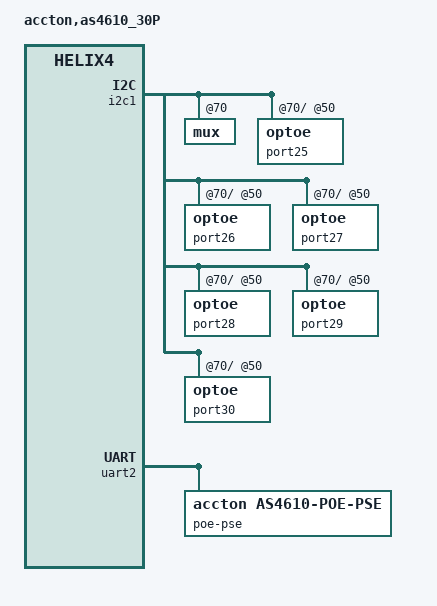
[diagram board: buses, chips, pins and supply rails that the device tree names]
/*
 * Accton AS4610 54 Device Tree Source
 *
 * Copyright 2015, Cumulus Networks, Inc.
 *
 * This program is free software; you can redistribute  it and/or modify it
 * under  the terms of  the GNU General  Public License as published by the
 * Free Software Foundation;  either version 2 of the  License, or (at your
 * option) any later version.
 *
 */
/dts-v1/;
#include "arm-accton-as4610.dtsi"

/ {
    model = "accton,as4610_30P";
    compatible = "accton,as4610_30P","brcm,helix4";
};

&i2c1 {
        mux@70 {
        // SFP+ 1
        i2c@0 {
            optoe@50 {
                label = "port25";
            };
        };

        // SFP+ 2
        i2c@1 {
            optoe@50 {
                label = "port26";
            };
        };

        // SFP+ 3
        i2c@2 {
            optoe@50 {
                label = "port27";
            };
        };

        // SFP+ 4
        i2c@3 {
            optoe@50 {
                label = "port28";
            };
        };

        // QSFP+ STK1
        i2c@4 {
            optoe@50 {
                label = "port29";
            };
        };

        // QSFP+ STK2
        i2c@5 {
            optoe@50 {
                label = "port30";
            };
        };
    };
};

&uart2 {
	poe-pse {
		compatible = "accton,as4610-poe-pse";

		#address-cells = <1>;
		#size-cells = <0>;

		port@0 {
			reg = <0>;
			brcm,device = <3>;
			brcm,primary-channel = <6>;
		};

		port@1 {
			reg = <1>;
			brcm,device = <3>;
			brcm,primary-channel = <7>;
		};

		port@2 {
			reg = <2>;
			brcm,device = <3>;
			brcm,primary-channel = <4>;
		};

		port@3 {
			reg = <3>;
			brcm,device = <3>;
			brcm,primary-channel = <5>;
		};

		port@4 {
			reg = <4>;
			brcm,device = <3>;
			brcm,primary-channel = <2>;
		};

		port@5 {
			reg = <5>;
			brcm,device = <3>;
			brcm,primary-channel = <3>;
		};

		port@6 {
			reg = <6>;
			brcm,device = <3>;
			brcm,primary-channel = <0>;
		};

		port@7 {
			reg = <7>;
			brcm,device = <3>;
			brcm,primary-channel = <1>;
		};

		port@8 {
			reg = <8>;
			brcm,device = <2>;
			brcm,primary-channel = <7>;
		};

		port@9 {
			reg = <9>;
			brcm,device = <2>;
			brcm,primary-channel = <6>;
		};

		port@10 {
			reg = <10>;
			brcm,device = <2>;
			brcm,primary-channel = <4>;
		};

		port@11 {
			reg = <11>;
			brcm,device = <2>;
			brcm,primary-channel = <5>;
		};

		port@12 {
			reg = <12>;
			brcm,device = <2>;
			brcm,primary-channel = <2>;
		};

		port@13 {
			reg = <13>;
			brcm,device = <2>;
			brcm,primary-channel = <3>;
		};

		port@14 {
			reg = <14>;
			brcm,device = <2>;
			brcm,primary-channel = <0>;
		};

		port@15 {
			reg = <15>;
			brcm,device = <2>;
			brcm,primary-channel = <1>;
		};

		port@16 {
			reg = <16>;
			brcm,device = <1>;
			brcm,primary-channel = <4>;
			brcm,alternative-channel = <5>;
		};

		port@17 {
			reg = <17>;
			brcm,device = <1>;
			brcm,primary-channel = <6>;
			brcm,alternative-channel = <7>;
		};

		port@18 {
			reg = <18>;
			brcm,device = <1>;
			brcm,primary-channel = <0>;
			brcm,alternative-channel = <1>;
		};

		port@19 {
			reg = <19>;
			brcm,device = <1>;
			brcm,primary-channel = <2>;
			brcm,alternative-channel = <3>;
		};

		port@20 {
			reg = <20>;
			brcm,device = <0>;
			brcm,primary-channel = <4>;
			brcm,alternative-channel = <5>;
		};

		port@21 {
			reg = <21>;
			brcm,device = <0>;
			brcm,primary-channel = <6>;
			brcm,alternative-channel = <7>;
		};

		port@22 {
			reg = <22>;
			brcm,device = <0>;
			brcm,primary-channel = <0>;
			brcm,alternative-channel = <1>;
		};

		port@23 {
			reg = <23>;
			brcm,device = <0>;
			brcm,primary-channel = <2>;
			brcm,alternative-channel = <3>;
		};
	};
};
